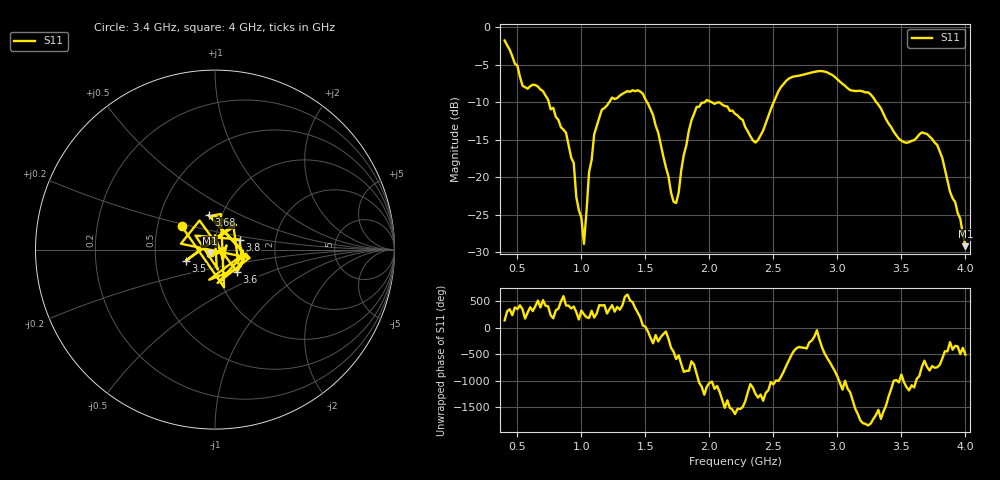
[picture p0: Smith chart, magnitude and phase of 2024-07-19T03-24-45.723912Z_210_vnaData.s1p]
!Created with skrf (http://scikit-rf.org).
# Hz S RI R 50.0
!freq ReS11 ImS11
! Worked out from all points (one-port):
!   181 points, 400 MHz to 4 GHz, reference 50 ohm
!   lowest |S11| = -29.2 dB at 4 GHz (marker M1), VSWR 1.07, Z = 47.2 - j1.88 ohm
!   |S11| at or under -10 dB: 745.1 MHz to 1.218 GHz (472.5 MHz wide, 48.1 % of centre); 2.017 GHz to 2.502 GHz (485 MHz wide, 21.5 % of centre); 3.304 GHz to end of sweep (the widest 3 of 4)
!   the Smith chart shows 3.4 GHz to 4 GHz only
!   S11 on the Smith chart (normalised r, x): 3.4 GHz: 0.67, +0.18; 3.5 GHz: 0.71, -0.09; 3.6 GHz: 1.24, -0.32; 3.68 GHz: 0.87, +0.35; 3.8 GHz: 1.31, +0.15; 4 GHz: 0.94, -0.04
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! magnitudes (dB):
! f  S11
! 400 MHz  -1.8
! 540 MHz  -7.8
! 700 MHz  -8.5
! 860 MHz  -13.7
! 940 MHz  -18.1
! 960 MHz  -22.6
! 1.02 GHz  -28.9
! 1.06 GHz  -19.3
! 1.1 GHz  -14.3
! 1.3 GHz  -9.1
! 1.48 GHz  -8.9
! 1.6 GHz  -14.1
! 1.72 GHz  -23.3
! 1.76 GHz  -22.1
! 1.8 GHz  -17.0
! 1.9 GHz  -10.6
! 2.2 GHz  -11.5
! 2.36 GHz  -15.4
! 2.66 GHz  -6.6
! 3.1 GHz  -8.4
! 3.26 GHz  -9.0
! 3.4 GHz  -12.9
! 3.5 GHz  -15.1
! 3.56 GHz  -15.3
! 3.6 GHz  -15.1
! 3.68 GHz  -14.1
! 3.8 GHz  -16.6
! 4 GHz  -29.2
